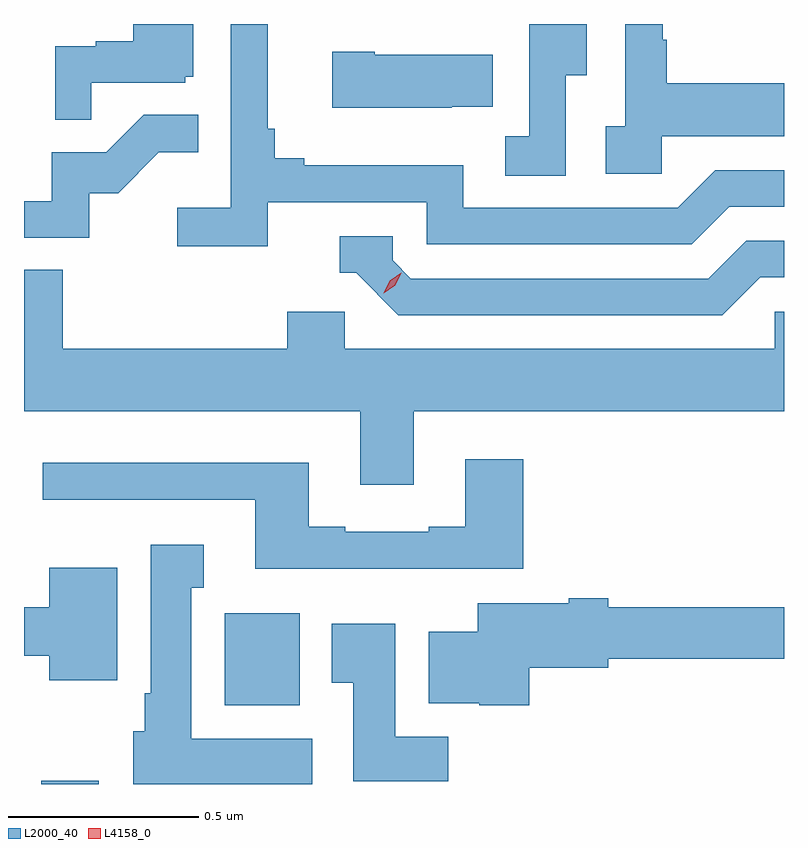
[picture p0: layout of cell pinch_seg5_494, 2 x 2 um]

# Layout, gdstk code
import gdstk
lib = gdstk.Library(unit=1e-6, precision=1e-09)
def R(c, l, rs):  # rectangles x0, y0, x1, y1
    for r in rs: c.add(gdstk.rectangle(r[:2], r[2:], *l))
def P(c, l, *ps):  # polygons
    for p in ps: c.add(gdstk.Polygon(p, *l))
L2000_40 = (2000, 40)
L4158_0 = (4158, 0)

pinch_seg5_494 = lib.new_cell('pinch_seg5_494')
R(pinch_seg5_494, L2000_40, [(897.701,849.119,897.853,849.127), (898.184,849.326,898.381,849.568)])
P(pinch_seg5_494, L2000_40, [(897.833,850.965),(898.08,850.965),(898.08,850.98),(898.102,850.98),(898.102,851.119),(897.944,851.119),(897.944,851.074),(897.845,851.074),(897.845,851.061),(897.738,851.061),(897.738,850.867),(897.833,850.867)],
  [(898.298,850.65),(898.716,850.65),(898.716,850.539),(899.413,850.539),(899.512,850.638),(899.656,850.638),(899.656,850.734),(899.475,850.734),(899.376,850.635),(898.812,850.635),(898.812,850.747),(898.393,850.747),(898.393,850.766),(898.316,850.766),(898.316,850.843),(898.297,850.843),(898.297,851.119),(898.2,851.119),(898.2,850.636),(898.059,850.636),(898.059,850.534),(898.298,850.534)],
  [(899.082,850.984),(899.137,850.984),(899.137,851.119),(898.986,851.119),(898.986,850.823),(898.923,850.823),(898.923,850.72),(899.082,850.72)],
  [(899.334,850.823),(899.656,850.823),(899.656,850.963),(899.347,850.963),(899.347,851.078),(899.337,851.078),(899.337,851.119),(899.238,851.119),(899.238,850.85),(899.187,850.85),(899.187,850.725),(899.334,850.725)],
  [(898.781,850.901),(898.889,850.901),(898.889,851.038),(898.579,851.038),(898.579,851.046),(898.467,851.046),(898.467,850.898),(898.781,850.898)],
  [(897.828,850.674),(897.904,850.674),(898.011,850.781),(898.115,850.781),(898.115,850.88),(897.971,850.88),(897.873,850.782),(897.729,850.782),(897.729,850.653),(897.656,850.653),(897.656,850.557),(897.828,850.557)],
  [(899.593,850.452),(899.656,850.452),(899.656,850.548),(899.556,850.548),(899.457,850.449),(898.674,850.449),(898.626,850.497),(898.626,850.56),(898.487,850.56),(898.487,850.464),(898.53,850.464),(898.641,850.353),(899.494,850.353)],
  [(898.681,850.1),(899.656,850.1),(899.656,850.362),(899.631,850.362),(899.631,850.264),(898.5,850.264),(898.5,850.362),(898.349,850.362),(898.349,850.264),(897.758,850.264),(897.758,850.472),(897.656,850.472),(897.656,850.1),(898.541,850.1),(898.541,849.906),(898.681,849.906)],
  [(898.97,849.973),(898.817,849.973),(898.817,849.796),(898.721,849.796),(898.721,849.783),(898.501,849.783),(898.501,849.796),(898.405,849.796),(898.405,849.964),(897.705,849.964),(897.705,849.867),(898.265,849.867),(898.265,849.686),(898.97,849.686)],
  [(898.414,849.238),(898.096,849.238),(898.096,849.635),(898.129,849.635),(898.129,849.748),(897.989,849.748),(897.989,849.358),(897.974,849.358),(897.974,849.258),(897.944,849.258),(897.944,849.119),(898.414,849.119)],
  [(897.901,849.688),(897.722,849.688),(897.722,849.584),(897.656,849.584),(897.656,849.456),(897.722,849.456),(897.722,849.392),(897.901,849.392)],
  [(898.985,849.425),(899.194,849.425),(899.194,849.448),(899.656,849.448),(899.656,849.584),(899.194,849.584),(899.194,849.608),(899.09,849.608),(899.09,849.595),(898.85,849.595),(898.85,849.52),(898.721,849.52),(898.721,849.332),(898.854,849.332),(898.854,849.326),(898.985,849.326)],
  [(898.772,849.244),(898.633,849.244),(898.633,849.541),(898.466,849.541),(898.466,849.385),(898.523,849.385),(898.523,849.126),(898.772,849.126)])
P(pinch_seg5_494, L4158_0, [(898.603,850.411),(898.603,850.412),(898.619,850.444),(898.649,850.464),(898.649,850.464),(898.649,850.463),(898.633,850.431),(898.603,850.411)])

lib.write_gds('pinch_seg5_494.gds')
